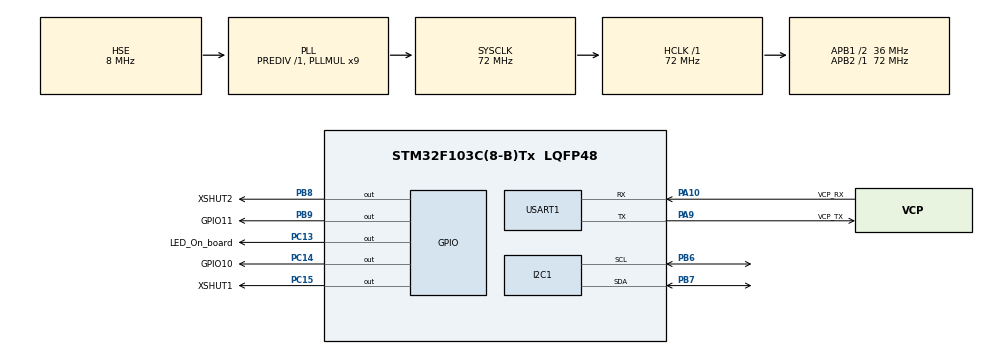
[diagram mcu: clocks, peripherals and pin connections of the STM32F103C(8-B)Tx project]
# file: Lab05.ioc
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I2C1.I2C_Mode=I2C_Fast
Mcu.Family=STM32F1
Mcu.Name=STM32F103C(8-B)Tx
Mcu.Package=LQFP48
NVIC.PriorityGroup=NVIC_PRIORITYGROUP_4
PA10.GPIO_Label=VCP_RX
PA10.Mode=Asynchronous
PA10.Signal=USART1_RX
PA13.Mode=Serial_Wire
PA13.Signal=SYS_JTMS-SWDIO
PA14.Mode=Serial_Wire
PA14.Signal=SYS_JTCK-SWCLK
PA9.GPIO_Label=VCP_TX
PA9.Mode=Asynchronous
PA9.Signal=USART1_TX
PB6.GPIO_Speed=GPIO_SPEED_FREQ_LOW
PB6.Mode=I2C
PB6.Signal=I2C1_SCL
PB7.GPIO_Speed=GPIO_SPEED_FREQ_LOW
PB7.Mode=I2C
PB7.Signal=I2C1_SDA
PB8.GPIO_Label=XSHUT2
PB8.PinState=GPIO_PIN_SET
PB8.Signal=GPIO_Output
PB9.GPIO_Label=GPIO11
PB9.PinState=GPIO_PIN_SET
PB9.Signal=GPIO_Output
PC13-TAMPER-RTC.GPIO_Label=LED_On_board
PC13-TAMPER-RTC.Signal=GPIO_Output
PC14-OSC32_IN.GPIO_Label=GPIO10
PC14-OSC32_IN.PinState=GPIO_PIN_SET
PC14-OSC32_IN.Signal=GPIO_Output
PC15-OSC32_OUT.GPIO_Label=XSHUT1
PC15-OSC32_OUT.PinState=GPIO_PIN_SET
PC15-OSC32_OUT.Signal=GPIO_Output
PD0-OSC_IN.Mode=HSE-External-Oscillator
PD0-OSC_IN.Signal=RCC_OSC_IN
PD1-OSC_OUT.Mode=HSE-External-Oscillator
PD1-OSC_OUT.Signal=RCC_OSC_OUT
ProjectManager.HeapSize=0x200
ProjectManager.StackSize=0x400
ProjectManager.TargetToolchain=STM32CubeIDE
RCC.AHBFreq_Value=72000000
RCC.APB1CLKDivider=RCC_HCLK_DIV2
RCC.APB1Freq_Value=36000000
RCC.APB1TimFreq_Value=72000000
RCC.APB2Freq_Value=72000000
RCC.APB2TimFreq_Value=72000000
RCC.HCLKFreq_Value=72000000
RCC.PLLMUL=RCC_PLL_MUL9
RCC.PLLSourceVirtual=RCC_PLLSOURCE_HSE
RCC.SYSCLKFreq_VALUE=72000000
RCC.SYSCLKSource=RCC_SYSCLKSOURCE_PLLCLK
RCC.USBFreq_Value=72000000
USART1.VirtualMode=VM_ASYNC
board=custom

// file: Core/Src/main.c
/* USER CODE BEGIN Header */
/**
  ******************************************************************************
  * @file           : main.c
  * @brief          : Main program body
  ******************************************************************************
  * @attention
  *
  * Copyright (c) 2024 STMicroelectronics.
  * All rights reserved.
  *
  * This software is licensed under terms that can be found in the LICENSE file
  * in the root directory of this software component.
  * If no LICENSE file comes with this software, it is provided AS-IS.
  *
  ******************************************************************************
  */
/* USER CODE END Header */
#include "main.h"
#include "i2c.h"
#include "usart.h"
#include "gpio.h"

/* USER CODE BEGIN Includes */
#include <stdio.h>
#include "VL53L1X.h"
#include "VL53L1X_api.h"
/* USER CODE END Includes */

void SystemClock_Config(void);

int main(void)
{

  /* MCU Configuration--------------------------------------------------------*/

  /* Reset of all peripherals, Initializes the Flash interface and the Systick. */
  HAL_Init();

  /* Configure the system clock */
  SystemClock_Config();

  /* Initialize all configured peripherals */
  MX_GPIO_Init();
  MX_I2C1_Init();
  MX_USART1_UART_Init();
  /* USER CODE BEGIN 2 */
  char msg[100];
  //TOF_SetLogFunction(printf);

  VL53L1X sensor1, sensor2;
  TOF_InitStruct(&sensor1, &hi2c1, 0x20, XSHUT1_GPIO_Port, XSHUT1_Pin); //Cấu hình các thông số cho cảm biến 1
  TOF_InitStruct(&sensor2, &hi2c1, 0x26, XSHUT2_GPIO_Port, XSHUT2_Pin); //Cấu hình các thông số cho cảm biến 2

  VL53L1X* sensors[] = {&sensor1, &sensor2};
  int status = TOF_BootMultipleSensors(sensors, 2); //Boot lần lượt từng cảm biến
  if (status != 0) //Nếu boot được thì in ra
  {
	  sprintf(msg, "%d", (int)status);
	  HAL_UART_Transmit(&huart1, (uint8_t*)msg, 1, 100); //
	  while (1) {}
  }
  /* USER CODE END 2 */

  /* Infinite loop */
  /* USER CODE BEGIN WHILE */
  //I2C_FIX();
  	uint16_t distance = 0;
  	int distance2;
	while (1)
	{
		distance = TOF_GetDistance(&sensor1); //Lấy dữ liệu khoảng cách
		if (distance == 0xFFFF || distance2 == 0xFFFF) {
			HAL_Init();
			SystemClock_Config();
			MX_GPIO_Init();
			MX_I2C1_Init();
			MX_USART1_UART_Init();
		}
		distance = TOF_GetDistance(&sensor1);
		//sprintf(msg, "\n\rD1: %d mm", distance);
		//HAL_UART_Transmit(&huart1, msg, 20, 100);

		distance2 = TOF_GetDistance(&sensor2);
		if (distance == 0xFFFF || distance2 == 0xFFFF) {
			HAL_Init();
			SystemClock_Config();
			MX_GPIO_Init();
			MX_I2C1_Init();
			MX_USART1_UART_Init();
		}
		distance2 = TOF_GetDistance(&sensor2);
		distance2 -= 10;
		if (distance2 <= 3) {
			distance2 = 0;
		}
		sprintf(msg, "\n\rD1: %d mm\n\rD2: %d mm", distance, distance2);
		HAL_UART_Transmit(&huart1, msg, 40, 100);

		HAL_Delay(2);
    /* USER CODE END WHILE */
	}
}

void SystemClock_Config(void)
{
  RCC_OscInitTypeDef RCC_OscInitStruct = {0};
  RCC_ClkInitTypeDef RCC_ClkInitStruct = {0};

  /** Initializes the RCC Oscillators according to the specified parameters
  * in the RCC_OscInitTypeDef structure.
  */
  RCC_OscInitStruct.OscillatorType = RCC_OSCILLATORTYPE_HSE;
  RCC_OscInitStruct.HSEState = RCC_HSE_ON;
  RCC_OscInitStruct.HSEPredivValue = RCC_HSE_PREDIV_DIV1;
  RCC_OscInitStruct.HSIState = RCC_HSI_ON;
  RCC_OscInitStruct.PLL.PLLState = RCC_PLL_ON;
  RCC_OscInitStruct.PLL.PLLSource = RCC_PLLSOURCE_HSE;
  RCC_OscInitStruct.PLL.PLLMUL = RCC_PLL_MUL9;
  if (HAL_RCC_OscConfig(&RCC_OscInitStruct) != HAL_OK)
  {
    Error_Handler();
  }

  /** Initializes the CPU, AHB and APB buses clocks
  */
  RCC_ClkInitStruct.ClockType = RCC_CLOCKTYPE_HCLK|RCC_CLOCKTYPE_SYSCLK
                              |RCC_CLOCKTYPE_PCLK1|RCC_CLOCKTYPE_PCLK2;
  RCC_ClkInitStruct.SYSCLKSource = RCC_SYSCLKSOURCE_PLLCLK;
  RCC_ClkInitStruct.AHBCLKDivider = RCC_SYSCLK_DIV1;
  RCC_ClkInitStruct.APB1CLKDivider = RCC_HCLK_DIV2;
  RCC_ClkInitStruct.APB2CLKDivider = RCC_HCLK_DIV1;

  if (HAL_RCC_ClockConfig(&RCC_ClkInitStruct, FLASH_LATENCY_2) != HAL_OK)
  {
    Error_Handler();
  }
}

void Error_Handler(void)
{
  __disable_irq();
  while (1)
  {
  }
}
